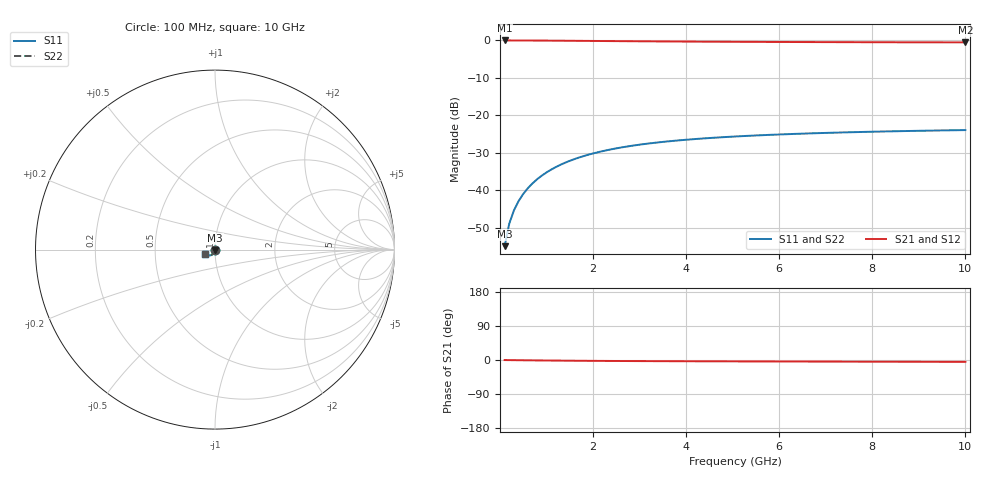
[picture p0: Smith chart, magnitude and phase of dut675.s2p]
! Touchstone file exported from HFSS 2024.1.0
!  File:  C:/UserFiles/LocalFiles/RDL_TSV_Batchsim/temp_TSV1_675_1779794592.aedt
!  Generated:  07:39:52 PM May 26, 2026
!  Design:  TSV1
!  Project:  temp_TSV1_675_1779794592
!  Setup:  Setup1
!  Solution:  Sweep
! Variables:
!  dtsv = 12.45um
!  hbump = 3um
!  htsv = 74.92um
!  lrdl = 252.1521522um
!  p = 40
!  p1 = 40.9um
!  t = 500um
!  trdl = 3um
!  wrdl = 24.89489489um
# GHz S MA R 50.000000
! Terminal data exported
! Port[1] = TSV22_T1
! Port[2] = TSV22_T2
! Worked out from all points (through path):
!   100 points, 100 MHz to 10 GHz, reference 50 ohm
!   highest |S21| = 0.00 dB at 100 MHz (marker M1); lowest = -0.5 dB at 10 GHz (marker M2)
!   lowest |S11| = -54.8 dB at 100 MHz (marker M3), VSWR 1.00, Z = 50 - j0.181 ohm
!   |S11| at or under -10 dB: start of sweep to end of sweep
!   |S22| runs from -54.8 to -23.9 dB; largest |S21 - S12| = 3.3e-15
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0.1  0.00181 -88.7  0.9998 -0.1  0.9998 -0.1  0.00181 -88.7
! Gamma 0 0 0 0
! Port Impedance 50 0 50 0
0.2  0.00362 -91.9  0.9997 -0.3  0.9997 -0.3  0.00362 -91.9
0.3  0.005425 -94.1  0.9994 -0.4  0.9994 -0.4  0.005425 -94.1
0.4  0.007215 -95.9  0.9991 -0.6  0.9991 -0.6  0.007215 -95.9
0.5  0.008987 -97.7  0.9986 -0.7  0.9986 -0.7  0.008987 -97.7
0.6  0.01073 -99.3  0.998 -0.8  0.998 -0.8  0.01073 -99.3
0.7  0.01245 -100.9  0.9974 -0.9  0.9974 -0.9  0.01245 -100.9
0.8  0.01414 -102.5  0.9967 -1.1  0.9967 -1.1  0.01414 -102.5
0.9  0.01579 -104.1  0.9959 -1.2  0.9959 -1.2  0.01579 -104.1
1.1  0.01898 -107.1  0.9942 -1.4  0.9942 -1.4  0.01898 -107.1
1.4  0.02345 -111.3  0.9912 -1.7  0.9912 -1.7  0.02345 -111.3
1.6  0.0262 -114.0  0.9892 -1.9  0.9892 -1.9  0.0262 -114.0
1.8  0.02877 -116.5  0.987 -2.1  0.987 -2.1  0.02877 -116.5
2.1  0.03231 -119.9  0.9838 -2.3  0.9838 -2.3  0.03231 -119.9
2.5  0.03644 -124.1  0.9796 -2.6  0.9796 -2.6  0.03644 -124.1
2.9  0.03999 -127.8  0.9757 -2.8  0.9757 -2.8  0.03999 -127.8
3.4  0.04375 -131.8  0.9712 -3.1  0.9712 -3.1  0.04375 -131.8
4.2  0.04853 -137.0  0.9649 -3.4  0.9649 -3.4  0.04853 -137.0
5.1  0.05263 -141.6  0.9591 -3.7  0.9591 -3.7  0.05263 -141.6
6.7  0.05778 -147.6  0.9515 -4.1  0.9515 -4.1  0.05778 -147.6
8.4  0.06145 -152.3  0.9459 -4.5  0.9459 -4.5  0.06145 -152.3
10  0.06386 -155.6  0.9422 -5.0  0.9422 -5.0  0.06386 -155.6
